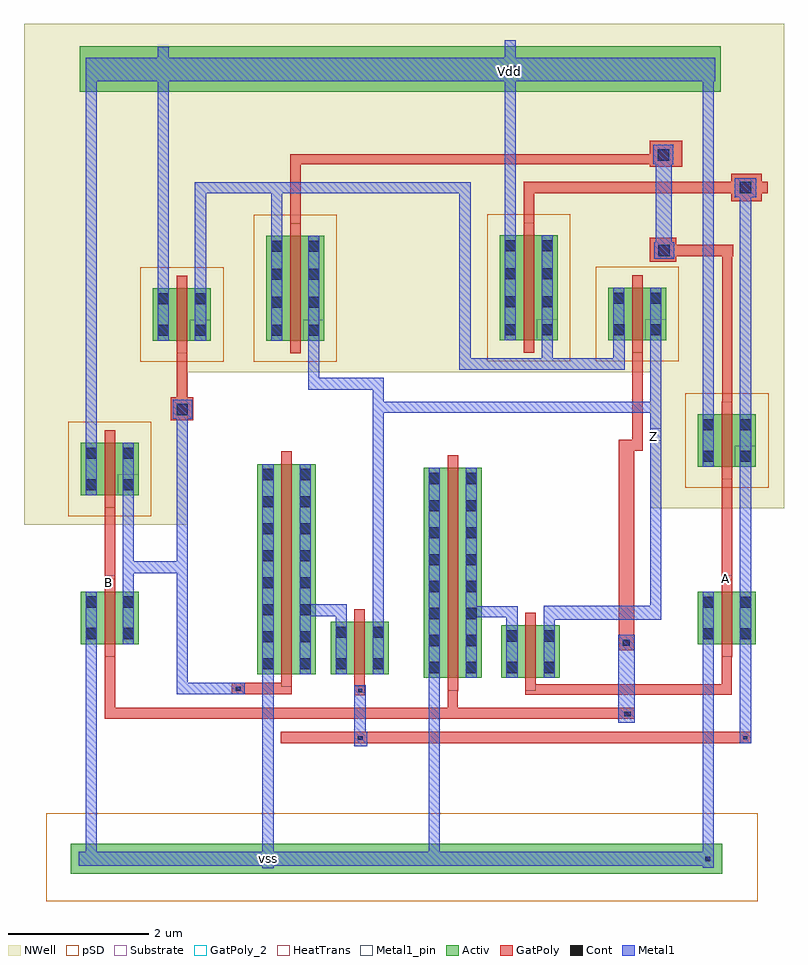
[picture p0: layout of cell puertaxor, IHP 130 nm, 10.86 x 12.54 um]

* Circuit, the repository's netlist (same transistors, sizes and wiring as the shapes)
* Extracted by KLayout with SG13G2 LVS runset on : 29/04/2026 16:24

.SUBCKT puertaxor
M$1 \$5 \$22 \$7 \$1 sg13_lv_nmos L=0.15u W=0.75u AS=0.255p AD=0.255p PS=2.18u
+ PD=2.18u
M$2 \$6 \$2 \$7 \$1 sg13_lv_nmos L=0.15u W=0.75u AS=0.255p AD=0.255p PS=2.18u
+ PD=2.18u
M$3 \$1 \$22 \$2 \$1 sg13_lv_nmos L=0.15u W=0.75u AS=0.255p AD=0.255p PS=2.18u
+ PD=2.18u
M$4 \$1 \$3 \$4 \$1 sg13_lv_nmos L=0.15u W=0.75u AS=0.255p AD=0.255p PS=2.18u
+ PD=2.18u
M$5 \$1 \$3 \$5 \$1 sg13_lv_nmos L=0.15u W=3u AS=1.02p AD=1.02p PS=6.68u
+ PD=6.68u
M$6 \$1 \$4 \$6 \$1 sg13_lv_nmos L=0.15u W=3u AS=1.02p AD=1.02p PS=6.68u
+ PD=6.68u
M$7 \$12 \$3 \$4 \$12 sg13_lv_pmos L=0.15u W=0.75u AS=0.255p AD=0.255p PS=2.18u
+ PD=2.18u
M$8 \$12 \$22 \$2 \$12 sg13_lv_pmos L=0.15u W=0.75u AS=0.255p AD=0.255p
+ PS=2.18u PD=2.18u
M$9 \$12 \$4 \$15 \$12 sg13_lv_pmos L=0.15u W=0.75u AS=0.255p AD=0.255p
+ PS=2.18u PD=2.18u
M$10 \$15 \$3 \$7 \$12 sg13_lv_pmos L=0.15u W=0.75u AS=0.255p AD=0.255p
+ PS=2.18u PD=2.18u
M$11 \$15 \$22 \$7 \$12 sg13_lv_pmos L=0.15u W=1.5u AS=0.51p AD=0.51p PS=3.68u
+ PD=3.68u
M$12 \$12 \$2 \$15 \$12 sg13_lv_pmos L=0.15u W=1.5u AS=0.51p AD=0.51p PS=3.68u
+ PD=3.68u
.ENDS puertaxor

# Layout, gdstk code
import gdstk
lib = gdstk.Library(unit=1e-6, precision=5e-09)
def R(c, l, rs):  # rectangles x0, y0, x1, y1
    for r in rs: c.add(gdstk.rectangle(r[:2], r[2:], *l))
def A(c, l, x, y, w, h, nx, ny, dx, dy):  # array of equal rectangles
    R(c, l, [(x+i*dx, y+j*dy, x+i*dx+w, y+j*dy+h) for i in range(nx) for j in range(ny)])
Activ = (1, 0)
GatPoly = (5, 0)
GatPoly_2 = (5, 2)
Cont = (6, 0)
Metal1 = (8, 0)
Metal1_pin = (8, 2)
pSD = (14, 0)
NWell = (31, 0)
Substrate = (40, 0)
HeatTrans = (51, 0)

pmos_1 = lib.new_cell('pmos$1')
R(pmos_1, Activ, [(0,0,0.3,0.3), (0,0,0.83,1.5), (0.53,0,0.83,0.3)])
R(pmos_1, GatPoly, [(0.34,-0.18,0.49,1.68), (0.34,-0.18,0.49,1.68)])
A(pmos_1, Cont, 0.07, 0.07, 0.16, 0.16, 1, 4, 0, 0.4)
A(pmos_1, Cont, 0.6, 0.07, 0.16, 0.16, 1, 4, 0, 0.4)
R(pmos_1, Metal1, [(0.07,0,0.23,1.5), (0.07,0,0.23,1.5), (0.6,0,0.76,1.5), (0.6,0,0.76,1.5)])
R(pmos_1, pSD, [(-0.18,-0.3,1.01,1.8)])
R(pmos_1, NWell, [(-0.31,-0.31,1.14,1.81)])
R(pmos_1, Substrate, [(0.53,0,0.83,0.3)])
R(pmos_1, HeatTrans, [(0.34,-0.18,0.49,1.68)])
pmos_1.add(gdstk.Label('pmos', (0.415,0.75), layer=63, texttype=0))
pmos_1.add(gdstk.Label('pmos', (0.415,0.75), layer=51, texttype=0))

nmos_2 = lib.new_cell('nmos$2')
R(nmos_2, Activ, [(0,0,0.3,0.3), (0,0,0.83,0.75), (0.53,0,0.83,0.3)])
R(nmos_2, GatPoly, [(0.34,-0.18,0.49,0.93)])
R(nmos_2, GatPoly_2, [(0.34,-0.18,0.49,0.93)])
R(nmos_2, Cont, [(0.07,0.07,0.23,0.23), (0.6,0.07,0.76,0.23), (0.07,0.52,0.23,0.68), (0.6,0.52,0.76,0.68)])
R(nmos_2, Metal1, [(0.07,0,0.23,0.75), (0.6,0,0.76,0.75)])
R(nmos_2, Metal1_pin, [(0.07,0,0.23,0.75), (0.6,0,0.76,0.75)])
R(nmos_2, HeatTrans, [(0.34,-0.18,0.49,0.93)])
nmos_2.add(gdstk.Label('nmos', (0.415,0.375), layer=63, texttype=0))
nmos_2.add(gdstk.Label('nmos', (0.415,0.375), layer=51, texttype=0))

nmos_1 = lib.new_cell('nmos$1')
R(nmos_1, Activ, [(0,0,0.3,0.3), (0,0,0.83,3), (0.53,0,0.83,0.3)])
R(nmos_1, GatPoly, [(0.34,-0.18,0.49,3.18)])
R(nmos_1, GatPoly_2, [(0.34,-0.18,0.49,3.18)])
A(nmos_1, Cont, 0.07, 0.07, 0.16, 0.16, 1, 7, 0, 0.385)
A(nmos_1, Cont, 0.6, 0.07, 0.16, 0.16, 1, 7, 0, 0.385)
R(nmos_1, Cont, [(0.07,2.77,0.23,2.93), (0.6,2.77,0.76,2.93)])
R(nmos_1, Metal1, [(0.07,0,0.23,3), (0.6,0,0.76,3)])
R(nmos_1, Metal1_pin, [(0.07,0,0.23,3), (0.6,0,0.76,3)])
R(nmos_1, HeatTrans, [(0.34,-0.18,0.49,3.18)])
nmos_1.add(gdstk.Label('nmos', (0.415,1.5), layer=63, texttype=0))
nmos_1.add(gdstk.Label('nmos', (0.415,1.5), layer=51, texttype=0))

pmos_2 = lib.new_cell('pmos$2')
R(pmos_2, Activ, [(0,0,0.3,0.3), (0,0,0.83,0.75), (0.53,0,0.83,0.3)])
R(pmos_2, GatPoly, [(0.34,-0.18,0.49,0.93), (0.34,-0.18,0.49,0.93)])
R(pmos_2, Cont, [(0.07,0.07,0.23,0.23), (0.6,0.07,0.76,0.23), (0.07,0.52,0.23,0.68), (0.6,0.52,0.76,0.68)])
R(pmos_2, Metal1, [(0.07,0,0.23,0.75), (0.07,0,0.23,0.75), (0.6,0,0.76,0.75), (0.6,0,0.76,0.75)])
R(pmos_2, pSD, [(-0.18,-0.3,1.01,1.05)])
R(pmos_2, NWell, [(-0.31,-0.31,1.14,1.06)])
R(pmos_2, Substrate, [(0.53,0,0.83,0.3)])
R(pmos_2, HeatTrans, [(0.34,-0.18,0.49,0.93)])
pmos_2.add(gdstk.Label('pmos', (0.415,0.375), layer=63, texttype=0))
pmos_2.add(gdstk.Label('pmos', (0.415,0.375), layer=51, texttype=0))

puertaxor = lib.new_cell('puertaxor')
R(puertaxor, Activ, [(1.36,-3.385,10.66,-2.96), (1.485,7.78,10.64,8.435)])
R(puertaxor, GatPoly, [(4.36,-1.52,11.075,-1.36), (1.84,-1.175,1.99,-0.035), (1.85,-1.175,8,-1.015), (6.74,-1.175,6.885,-0.52), (7.615,-1.175,9.415,-1.015), (5.41,-0.835,5.56,-0.655), (7.85,-0.83,10.8,-0.68), (3.66,-0.825,4.515,-0.66), (4.365,-0.825,4.515,-0.515), (10.655,-0.77,10.8,-0.14), (9.185,-0.195,9.405,1.56), (1.84,0.6,1.99,1.425), (10.655,0.765,10.805,2.35), (1.84,1.345,1.99,1.95), (9.185,1.345,9.405,2.81), (10.66,2.29,10.805,5.6), (9.185,2.655,9.525,2.81), (9.375,2.655,9.525,4.17), (2.785,3.09,3.11,3.42), (2.87,3.17,3.02,4.155), (9.625,5.355,10.005,5.695), (9.71,5.43,9.885,5.6), (9.84,5.43,10.82,5.6), (7.825,5.555,7.975,6.5), (4.49,5.76,4.64,6.89), (10.79,6.22,11.225,6.615), (7.825,6.335,11.31,6.5), (9.625,6.71,10.09,7.08), (4.515,6.75,9.96,6.89), (9.845,6.79,10.09,6.995)])
R(puertaxor, GatPoly_2, [(1.84,0.705,1.99,0.875), (10.655,0.765,10.805,0.88)])
R(puertaxor, Cont, [(4.15,-3.21,4.21,-3.14), (10.42,-3.205,10.49,-3.145), (5.46,-1.475,5.525,-1.425), (10.965,-1.465,11.02,-1.425), (9.26,-1.14,9.355,-1.075), (5.465,-0.795,5.52,-0.745), (3.715,-0.775,3.785,-0.715), (9.245,-0.13,9.34,-0.045), (2.87,3.165,3.03,3.325), (9.75,5.435,9.91,5.595), (10.915,6.335,11.075,6.495), (9.745,6.8,9.905,6.96), (7.555,7.995,7.715,8.155)])
R(puertaxor, Metal1, [(4.095,-3.31,4.255,-0.25), (10.385,-3.3,10.545,0.19), (1.475,-3.275,1.71,-3.07), (1.57,-3.275,10.545,-3.07), (6.47,-3.235,6.63,-0.3), (1.57,-3.23,1.73,0.125), (5.41,-1.565,5.57,-0.695), (5.565,-1.565,5.59,-1.36), (10.915,-1.52,11.075,0.105), (9.18,-1.23,9.415,-1.175), (9.18,-1.175,9.415,0.03), (2.87,-0.825,3.845,-0.66), (2.87,-0.72,3.03,1.07), (7.58,-0.07,7.74,0.435), (8.11,-0.04,8.27,0.445), (5.14,-0.015,5.3,0.465), (5.67,0,5.83,3.7), (8.11,0.24,9.795,0.445), (9.635,0.24,9.795,2.905), (7.07,0.275,7.74,0.435), (4.725,0.295,5.3,0.465), (2.1,0.415,2.26,2.245), (10.91,0.47,11.075,1.985), (2.1,0.905,3.03,1.08), (2.87,0.905,3.03,3.31), (10.91,1.9,11.075,6.5), (1.57,2.54,1.73,8.265), (9.635,2.68,9.795,4.385), (10.385,2.945,10.545,8.265), (2.815,3.11,3.09,3.385), (5.67,3.195,9.795,3.355), (2.87,3.31,3.03,3.34), (4.75,3.53,4.91,4.45), (4.75,3.53,5.83,3.7), (6.905,3.815,7.07,6.49), (6.905,3.815,8.26,3.975), (8.085,3.815,8.245,4.465), (8.085,3.815,9.27,3.975), (9.105,3.815,9.27,4.46), (2.6,4.6,2.76,8.425), (3.13,4.755,3.295,6.49), (7.555,4.985,7.715,8.52), (9.69,5.395,9.975,5.635), (9.71,5.43,9.94,6.995), (4.22,5.5,4.38,6.49), (10.845,6.275,11.15,6.545), (3.13,6.33,4.375,6.49), (4.215,6.33,7.07,6.49), (9.675,6.75,9.96,7.025), (1.585,7.935,10.565,8.265)])
R(puertaxor, Metal1_pin, [(4.15,-3.21,4.21,-3.14), (9.635,2.795,9.795,2.975), (7.585,8.03,7.69,8.125)])
R(puertaxor, pSD, [(1.005,-3.78,11.17,-2.525)])
R(puertaxor, NWell, [(0.69,1.595,3.03,3.945), (9.635,1.835,11.545,4.235), (0.69,3.775,11.545,8.755)])
puertaxor.add(gdstk.Reference(pmos_1, (7.485,4.235)))
puertaxor.add(gdstk.Reference(nmos_2, (5.07,-0.535)))
puertaxor.add(gdstk.Reference(nmos_1, (6.4,-0.59)))
puertaxor.add(gdstk.Reference(nmos_2, (7.51,-0.59)))
puertaxor.add(gdstk.Reference(nmos_1, (4.025,-0.535)))
puertaxor.add(gdstk.Reference(pmos_2, (1.5,2.02)))
puertaxor.add(gdstk.Reference(pmos_2, (10.315,2.425)))
puertaxor.add(gdstk.Reference(nmos_2, (1.5,-0.105)))
puertaxor.add(gdstk.Reference(nmos_2, (10.315,-0.11)))
puertaxor.add(gdstk.Reference(pmos_1, (4.15,4.225)))
puertaxor.add(gdstk.Reference(pmos_2, (2.53,4.225)))
puertaxor.add(gdstk.Reference(pmos_2, (9.035,4.235)))
puertaxor.add(gdstk.Label('vss', (4.18,-3.175), layer=8, texttype=2))
puertaxor.add(gdstk.Label('Z', (9.685,2.86), layer=8, texttype=2))
puertaxor.add(gdstk.Label('Vdd', (7.625,8.075), layer=8, texttype=2))
puertaxor.add(gdstk.Label('B', (1.89,0.77), layer=5, texttype=2))
puertaxor.add(gdstk.Label('A', (10.715,0.835), layer=5, texttype=2))

lib.write_gds('puertaxor.gds')
